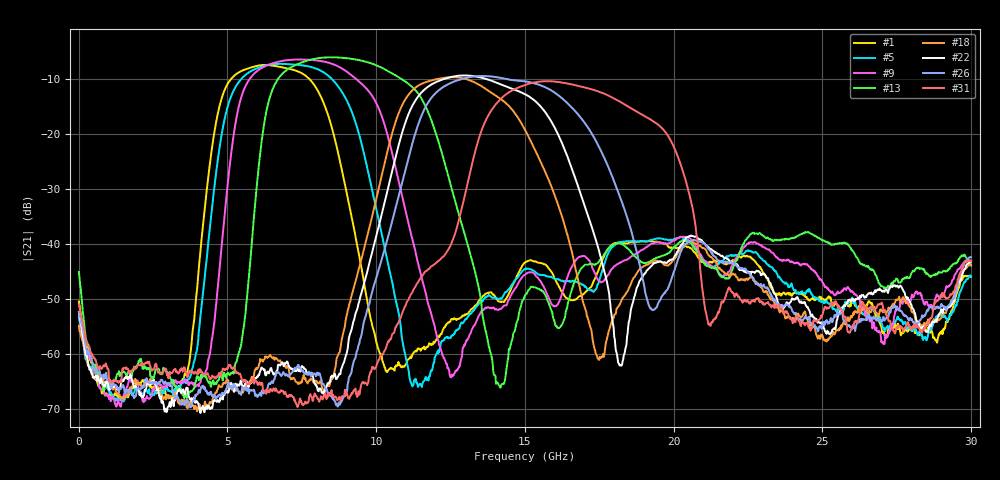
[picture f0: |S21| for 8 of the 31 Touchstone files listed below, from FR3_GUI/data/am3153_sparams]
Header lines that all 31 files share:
!Agilent Technologies,E8364B,MY43040894,A.07.50.67
!Agilent E8364B: A.07.50.67
!Correction: S11(Full 2 Port(1,2))
!S21(Full 2 Port(1,2))
!S12(Full 2 Port(1,2))
!S22(Full 2 Port(1,2))
!S2P File: Measurements: S11, S21, S12, S22:
# Hz S  dB  R 50
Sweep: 10 MHz to 30 GHz
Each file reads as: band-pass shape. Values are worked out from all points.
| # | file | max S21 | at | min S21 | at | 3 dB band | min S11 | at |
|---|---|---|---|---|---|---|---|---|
| 1 | AM3153_SN2_5V_6mA_Band1_0000.s2p | -7.52 dB | 6.252 GHz | -68.5 dB | 3.14 GHz | 5.071 GHz-7.826 GHz | -28.4 dB | 5.671 GHz |
| 2 | AM3153_SN2_5V_6mA_Band1_0001.s2p | -7.41 dB | 6.383 GHz | -70.0 dB | 1.022 GHz | 5.146 GHz-7.976 GHz | -31.5 dB | 5.764 GHz |
| 3 | AM3153_SN2_5V_6mA_Band1_0010.s2p | -7.43 dB | 6.477 GHz | -71.4 dB | 1.116 GHz | 5.24 GHz-8.126 GHz | -29.4 dB | 5.858 GHz |
| 4 | AM3153_SN2_5V_6mA_Band1_0011.s2p | -7.38 dB | 6.589 GHz | -69.1 dB | 1.36 GHz | 5.333 GHz-8.313 GHz | -26.4 dB | 6.664 GHz |
| 5 | AM3153_SN2_5V_6mA_Band1_0100.s2p | -7.32 dB | 6.758 GHz | -68.7 dB | 1.51 GHz | 5.446 GHz-8.538 GHz | -26.1 dB | 6.851 GHz |
| 6 | AM3153_SN2_5V_6mA_Band1_0101.s2p | -7.27 dB | 6.983 GHz | -69.4 dB | 1.453 GHz | 5.539 GHz-8.745 GHz | -25.7 dB | 7.001 GHz |
| 7 | AM3153_SN2_5V_6mA_Band1_0110.s2p | -7.37 dB | 7.301 GHz | -69.7 dB | 1.659 GHz | 5.708 GHz-8.913 GHz | -23.7 dB | 7.189 GHz |
| 8 | AM3153_SN2_5V_6mA_Band1_0111.s2p | -7.33 dB | 7.545 GHz | -70.7 dB | 1.285 GHz | 5.877 GHz-9.138 GHz | -22.5 dB | 7.358 GHz |
| 9 | AM3153_SN2_5V_6mA_Band1_1000.s2p | -6.53 dB | 7.451 GHz | -69.7 dB | 1.266 GHz | 5.839 GHz-9.194 GHz | -20.7 dB | 7.47 GHz |
| 10 | AM3153_SN2_5V_6mA_Band1_1001.s2p | -6.46 dB | 7.695 GHz | -69.5 dB | 1.603 GHz | 6.008 GHz-9.457 GHz | -19.4 dB | 7.657 GHz |
| 11 | AM3153_SN2_5V_6mA_Band1_1010.s2p | -6.53 dB | 7.864 GHz | -69.4 dB | 3.553 GHz | 6.289 GHz-9.757 GHz | -18.9 dB | 6.552 GHz |
| 12 | AM3153_SN2_5V_6mA_Band1_1011.s2p | -6.59 dB | 8.257 GHz | -72.3 dB | 4.284 GHz | 6.552 GHz-10.13 GHz | -18.4 dB | 6.702 GHz |
| 13 | AM3153_SN2_5V_6mA_Band1_1100.s2p | -6.12 dB | 8.52 GHz | -68.1 dB | 3.553 GHz | 6.851 GHz-10.56 GHz | -19.7 dB | 6.289 GHz |
| 14 | AM3153_SN2_5V_6mA_Band1_1101.s2p | -6.25 dB | 8.951 GHz | -69.2 dB | 4.471 GHz | 7.283 GHz-11.03 GHz | -20.2 dB | 6.664 GHz |
| 15 | AM3153_SN2_5V_6mA_Band1_1110.s2p | -6.03 dB | 9.925 GHz | -69.0 dB | 5.633 GHz | 8.089 GHz-11.59 GHz | -23.6 dB | 7.433 GHz |
| 16 | AM3153_SN2_5V_6mA_Band1_1111.s2p | -5.97 dB | 10.71 GHz | -62.6 dB | 6.795 GHz | 9.119 GHz-12.32 GHz | -18.4 dB | 13.13 GHz |
| 17 | AM3153_SN2_5V_6mA_Band2_0000.s2p | -9.83 dB | 12.42 GHz | -69.6 dB | 3.271 GHz | 11.01 GHz-13.73 GHz | -25.4 dB | 13.26 GHz |
| 18 | AM3153_SN2_5V_6mA_Band2_0001.s2p | -9.74 dB | 12.59 GHz | -70.5 dB | 3.984 GHz | 11.13 GHz-13.92 GHz | -26.9 dB | 13.43 GHz |
| 19 | AM3153_SN2_5V_6mA_Band2_0010.s2p | -9.70 dB | 12.68 GHz | -69.8 dB | 4.583 GHz | 11.22 GHz-14.12 GHz | -30.8 dB | 13.66 GHz |
| 20 | AM3153_SN2_5V_6mA_Band2_0011.s2p | -9.70 dB | 12.85 GHz | -69.6 dB | 3.609 GHz | 11.39 GHz-14.37 GHz | -28.7 dB | 13.86 GHz |
| 21 | AM3153_SN2_5V_6mA_Band2_0100.s2p | -9.39 dB | 12.81 GHz | -69.5 dB | 3.44 GHz | 11.39 GHz-14.54 GHz | -25.5 dB | 14.05 GHz |
| 22 | AM3153_SN2_5V_6mA_Band2_0101.s2p | -9.43 dB | 12.96 GHz | -70.8 dB | 4.096 GHz | 11.56 GHz-14.84 GHz | -24.1 dB | 14.26 GHz |
| 23 | AM3153_SN2_5V_6mA_Band2_0110.s2p | -9.48 dB | 13.15 GHz | -69.9 dB | 8.313 GHz | 11.74 GHz-15.14 GHz | -22.8 dB | 14.52 GHz |
| 24 | AM3153_SN2_5V_6mA_Band2_0111.s2p | -9.64 dB | 13.34 GHz | -70.1 dB | 4.246 GHz | 11.97 GHz-15.44 GHz | -22.4 dB | 14.76 GHz |
| 25 | AM3153_SN2_5V_6mA_Band2_1000.s2p | -9.28 dB | 13.32 GHz | -69.8 dB | 8.388 GHz | 11.76 GHz-15.68 GHz | -24.5 dB | 14.84 GHz |
| 26 | AM3153_SN2_5V_6mA_Band2_1001.s2p | -9.51 dB | 13.54 GHz | -69.8 dB | 3.759 GHz | 12.02 GHz-15.98 GHz | -23.6 dB | 15.08 GHz |
| 27 | AM3153_SN2_5V_6mA_Band2_1010.s2p | -9.62 dB | 13.77 GHz | -68.3 dB | 4.077 GHz | 12.25 GHz-16.2 GHz | -23.1 dB | 15.38 GHz |
| 28 | AM3153_SN2_5V_6mA_Band2_1011.s2p | -10.19 dB | 14.03 GHz | -70.0 dB | 4.434 GHz | 12.66 GHz-16.56 GHz | -21.7 dB | 15.64 GHz |
| 29 | AM3153_SN2_5V_6mA_Band2_1100.s2p | -9.63 dB | 14.11 GHz | -69.3 dB | 9.326 GHz | 12.81 GHz-16.69 GHz | -19.5 dB | 15.87 GHz |
| 30 | AM3153_SN2_5V_6mA_Band2_1101.s2p | -10.37 dB | 15.3 GHz | -69.7 dB | 647.3 MHz | 13.39 GHz-17.16 GHz | -18.2 dB | 16.09 GHz |
| 31 | AM3153_SN2_5V_6mA_Band2_1110.s2p | -10.47 dB | 15.81 GHz | -69.7 dB | 7.358 GHz | 14.24 GHz-17.95 GHz | -23.0 dB | 14.57 GHz |
